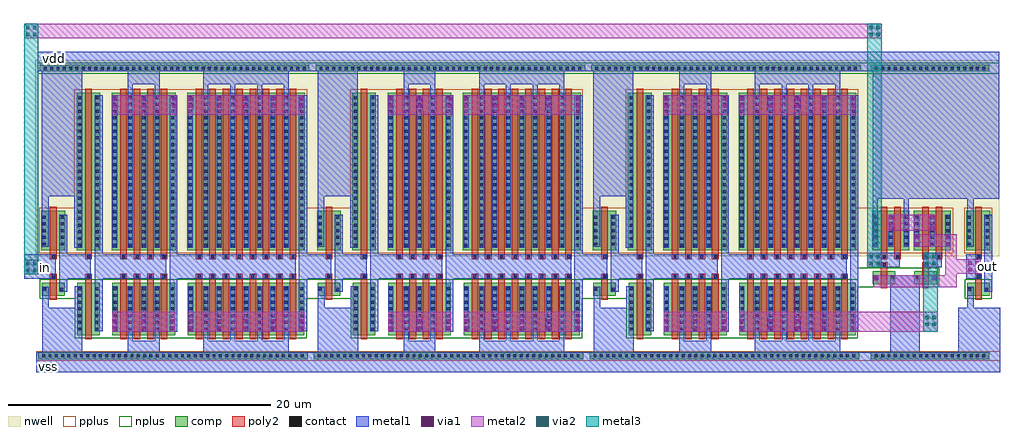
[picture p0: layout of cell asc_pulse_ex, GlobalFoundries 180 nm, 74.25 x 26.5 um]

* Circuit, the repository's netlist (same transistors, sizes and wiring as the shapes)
** sch_path: /foss/designs/libs/core_analog/asc_pulse_ex/asc_pulse_ex.sch
.subckt asc_pulse_ex in vss out vdd
*.PININFO in:B vss:B vdd:B out:B
x1 in vss net1 vdd asc_drive_buffer
x2 net1 vss net2 vdd asc_drive_buffer
x3 net2 vss net3 vdd asc_drive_buffer
x5 vdd vss out in net3 asc_OR
.ends

* expanding   symbol:  libs/core_analog/asc_drive_buffer/asc_drive_buffer.sym # of pins=4
** sym_path: /foss/designs/libs/core_analog/asc_drive_buffer/asc_drive_buffer.sym
** sch_path: /foss/designs/libs/core_analog/asc_drive_buffer/asc_drive_buffer.sch
.subckt asc_drive_buffer in vss out vdd
*.PININFO in:B out:B vss:B vdd:B
M1 net1 in vdd vdd pfet_03v3 L=0.5u W=3.0u nf=1 m=1
M2 net1 in vss vss nfet_03v3 L=0.5u W=1.0u nf=1 m=1
M3 net2 net1 vdd vdd pfet_03v3 L=0.5u W=12.0u nf=1 m=1
M4 net2 net1 vss vss nfet_03v3 L=0.5u W=4.0u nf=1 m=1
M5 net3 net2 vdd vdd pfet_03v3 L=0.5u W=48.0u nf=4 m=1
M6 net3 net2 vss vss nfet_03v3 L=0.5u W=16.0u nf=4 m=1
M7 out net3 vdd vdd pfet_03v3 L=0.5u W=96.0u nf=8 m=1
M8 out net3 vss vss nfet_03v3 L=0.5u W=32.0u nf=8 m=1
.ends


* expanding   symbol:  libs/core_analog/asc_OR/asc_OR.sym # of pins=5
** sym_path: /foss/designs/libs/core_analog/asc_OR/asc_OR.sym
** sch_path: /foss/designs/libs/core_analog/asc_OR/asc_OR.sch
.subckt asc_OR VDD VSS OUT A B
*.PININFO VDD:B A:B B:B VSS:B OUT:B
x1 VDD VSS net1 A B asc_NOR
x2 net1 VDD OUT VSS inv1u05u
.ends


* expanding   symbol:  libs/core_analog/asc_NOR/asc_NOR.sym # of pins=5
** sym_path: /foss/designs/libs/core_analog/asc_NOR/asc_NOR.sym
** sch_path: /foss/designs/libs/core_analog/asc_NOR/asc_NOR.sch
.subckt asc_NOR VDD VSS OUT A B
*.PININFO VDD:B VSS:B B:B A:B OUT:B
M1 OUT A VSS VSS nfet_03v3 L=0.5u W=1u nf=1 m=1
M2 OUT B VSS VSS nfet_03v3 L=0.5u W=1u nf=1 m=1
M3 OUT B net1 VDD pfet_03v3 L=0.5u W=6u nf=2 m=1
M4 net1 A VDD VDD pfet_03v3 L=0.5u W=6u nf=2 m=1
.ends


* expanding   symbol:  libs/core_analog/inv1u05u/inv1u05u.sym # of pins=4
** sym_path: /foss/designs/libs/core_analog/inv1u05u/inv1u05u.sym
** sch_path: /foss/designs/libs/core_analog/inv1u05u/inv1u05u.sch
.subckt inv1u05u in vdd out vss
*.PININFO in:B out:B vss:B vdd:B
M1 out in vdd vdd pfet_03v3 L=0.5u W=3.0u nf=1 m=1
M2 out in vss vss nfet_03v3 L=0.5u W=1.0u nf=1 m=1
.ends

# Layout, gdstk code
from math import pi, radians
import gdstk
lib = gdstk.Library(unit=1e-6, precision=5e-09)
def R(c, l, rs):  # rectangles x0, y0, x1, y1
    for r in rs: c.add(gdstk.rectangle(r[:2], r[2:], *l))
def A(c, l, x, y, w, h, nx, ny, dx, dy):  # array of equal rectangles
    R(c, l, [(x+i*dx, y+j*dy, x+i*dx+w, y+j*dy+h) for i in range(nx) for j in range(ny)])
nwell = (21, 0)
comp = (22, 0)
poly2 = (30, 0)
pplus = (31, 0)
nplus = (32, 0)
contact = (33, 0)
metal1 = (34, 0)
via1 = (35, 0)
metal2 = (36, 0)
via2 = (38, 0)
metal3 = (42, 0)

via_dev = lib.new_cell('via_dev')
R(via_dev, comp, [(0,0,20.5,0.5)])
A(via_dev, contact, 0.3, 0.14, 0.22, 0.22, 42, 1, 0.48, 0)
R(via_dev, metal1, [(0,0,20.5,0.5)])

nfet = lib.new_cell('nfet')
R(nfet, comp, [(-0.42,0,0,4), (0,0,8.02,4), (8.02,0,8.44,4)])
A(nfet, poly2, 0.19, -0.3, 0.5, 4.6, 8, 1, 1.02, 0)
A(nfet, poly2, 0.19, 4.3, 0.5, 0.36, 8, 1, 1.02, 0)
R(nfet, nplus, [(-0.59,-0.24,8.61,4.24)])
A(nfet, contact, -0.32, 0.36, 0.22, 0.22, 1, 7, 0, 0.51)
A(nfet, contact, 0.84, 0.36, 0.22, 0.22, 7, 7, 1.02, 0.51)
A(nfet, contact, 8.12, 0.36, 0.22, 0.22, 1, 7, 0, 0.51)
A(nfet, contact, 0.33, 4.37, 0.22, 0.22, 8, 1, 1.02, 0)
A(nfet, metal1, 0.76, 0.28, 0.38, 3.44, 7, 1, 1.02, 0)
A(nfet, metal1, 0.25, 4.29, 0.38, 0.38, 8, 1, 1.02, 0)
R(nfet, metal1, [(-0.4,0.28,-0.02,3.72), (8.04,0.28,8.42,3.72)])

pfet = lib.new_cell('pfet')
R(pfet, nwell, [(-0.9,-0.44,8.92,12.44)])
R(pfet, comp, [(-0.46,0,0,12), (0,0,8.02,12), (8.02,0,8.48,12)])
A(pfet, poly2, 0.19, -0.68, 0.5, 0.38, 8, 1, 1.02, 0)
A(pfet, poly2, 0.19, -0.3, 0.5, 12.6, 8, 1, 1.02, 0)
R(pfet, pplus, [(-0.63,-0.24,8.65,12.24)])
A(pfet, contact, 0.33, -0.6, 0.22, 0.22, 8, 1, 1.02, 0)
A(pfet, contact, -0.34, 0.28, 0.22, 0.22, 1, 23, 0, 0.51)
A(pfet, contact, 0.84, 0.28, 0.22, 0.22, 7, 23, 1.02, 0.51)
A(pfet, contact, 8.14, 0.28, 0.22, 0.22, 1, 23, 0, 0.51)
A(pfet, metal1, 0.25, -0.68, 0.38, 0.38, 8, 1, 1.02, 0)
A(pfet, metal1, 0.76, 0.2, 0.38, 11.6, 7, 1, 1.02, 0)
R(pfet, metal1, [(-0.42,0.2,-0.04,11.8), (8.06,0.2,8.44,11.8)])

pfet_1 = lib.new_cell('pfet$1')
R(pfet_1, nwell, [(-0.9,-0.44,4.84,12.44)])
R(pfet_1, comp, [(-0.46,0,0,12), (0,0,3.94,12), (3.94,0,4.4,12)])
A(pfet_1, poly2, 0.19, -0.68, 0.5, 0.38, 4, 1, 1.02, 0)
A(pfet_1, poly2, 0.19, -0.3, 0.5, 12.6, 4, 1, 1.02, 0)
R(pfet_1, pplus, [(-0.63,-0.24,4.57,12.24)])
A(pfet_1, contact, 0.33, -0.6, 0.22, 0.22, 4, 1, 1.02, 0)
A(pfet_1, contact, -0.34, 0.28, 0.22, 0.22, 1, 23, 0, 0.51)
A(pfet_1, contact, 0.84, 0.28, 0.22, 0.22, 3, 23, 1.02, 0.51)
A(pfet_1, contact, 4.06, 0.28, 0.22, 0.22, 1, 23, 0, 0.51)
A(pfet_1, metal1, 0.25, -0.68, 0.38, 0.38, 4, 1, 1.02, 0)
A(pfet_1, metal1, 0.76, 0.2, 0.38, 11.6, 3, 1, 1.02, 0)
R(pfet_1, metal1, [(-0.42,0.2,-0.04,11.8), (3.98,0.2,4.36,11.8)])

pfet_2 = lib.new_cell('pfet$2')
R(pfet_2, nwell, [(-0.9,-0.44,1.78,12.44)])
R(pfet_2, comp, [(-0.46,0,0,12), (0,0,0.88,12), (0.88,0,1.34,12)])
R(pfet_2, poly2, [(0.19,-0.68,0.69,-0.3), (0.19,-0.3,0.69,12.3)])
R(pfet_2, pplus, [(-0.63,-0.24,1.51,12.24)])
A(pfet_2, contact, -0.34, 0.28, 0.22, 0.22, 1, 23, 0, 0.51)
A(pfet_2, contact, 1, 0.28, 0.22, 0.22, 1, 23, 0, 0.51)
R(pfet_2, contact, [(0.33,-0.6,0.55,-0.38)])
R(pfet_2, metal1, [(0.25,-0.68,0.63,-0.3), (-0.42,0.2,-0.04,11.8), (0.92,0.2,1.3,11.8)])

via_dev_13 = lib.new_cell('via_dev$13')
R(via_dev_13, comp, [(0,0,9,0.5)])
A(via_dev_13, contact, 0.31, 0.14, 0.22, 0.22, 18, 1, 0.48, 0)
R(via_dev_13, metal1, [(0,0,9,0.5)])

via_dev_1 = lib.new_cell('via_dev$1')
R(via_dev_1, metal1, [(0,0,1.1,0.4)])
R(via_dev_1, via1, [(0.155,0.07,0.415,0.33), (0.685,0.07,0.945,0.33)])
R(via_dev_1, metal2, [(0,0,1.1,0.4)])

via_dev_8 = lib.new_cell('via_dev$8')
R(via_dev_8, metal2, [(0,0,1.1,1.1)])
R(via_dev_8, via2, [(0.155,0.155,0.415,0.415), (0.685,0.155,0.945,0.415), (0.155,0.685,0.415,0.945), (0.685,0.685,0.945,0.945)])
R(via_dev_8, metal3, [(0,0,1.1,1.1)])

via_dev_2 = lib.new_cell('via_dev$2')

nfet_1 = lib.new_cell('nfet$1')
R(nfet_1, comp, [(-0.42,0,0,4), (0,0,0.88,4), (0.88,0,1.3,4)])
R(nfet_1, poly2, [(0.19,-0.3,0.69,4.3), (0.19,4.3,0.69,4.66)])
R(nfet_1, nplus, [(-0.59,-0.24,1.47,4.24)])
A(nfet_1, contact, -0.32, 0.36, 0.22, 0.22, 1, 7, 0, 0.51)
A(nfet_1, contact, 0.98, 0.36, 0.22, 0.22, 1, 7, 0, 0.51)
R(nfet_1, contact, [(0.33,4.37,0.55,4.59)])
R(nfet_1, metal1, [(-0.4,0.28,-0.02,3.72), (0.9,0.28,1.28,3.72), (0.25,4.29,0.63,4.67)])

nfet_2 = lib.new_cell('nfet$2')
R(nfet_2, comp, [(-0.42,0,0,4), (0,0,3.94,4), (3.94,0,4.36,4)])
A(nfet_2, poly2, 0.19, -0.3, 0.5, 4.6, 4, 1, 1.02, 0)
A(nfet_2, poly2, 0.19, 4.3, 0.5, 0.36, 4, 1, 1.02, 0)
R(nfet_2, nplus, [(-0.59,-0.24,4.53,4.24)])
A(nfet_2, contact, -0.32, 0.36, 0.22, 0.22, 1, 7, 0, 0.51)
A(nfet_2, contact, 0.84, 0.36, 0.22, 0.22, 3, 7, 1.02, 0.51)
A(nfet_2, contact, 4.04, 0.36, 0.22, 0.22, 1, 7, 0, 0.51)
A(nfet_2, contact, 0.33, 4.37, 0.22, 0.22, 4, 1, 1.02, 0)
A(nfet_2, metal1, 0.76, 0.28, 0.38, 3.44, 3, 1, 1.02, 0)
A(nfet_2, metal1, 0.25, 4.29, 0.38, 0.38, 4, 1, 1.02, 0)
R(nfet_2, metal1, [(-0.4,0.28,-0.02,3.72), (3.96,0.28,4.34,3.72)])

nfet_3 = lib.new_cell('nfet$3')
R(nfet_3, comp, [(-0.42,0,0,1), (0,0,0.88,1), (0.88,0,1.3,1)])
R(nfet_3, poly2, [(0.19,-0.3,0.69,1.3), (0.19,1.3,0.69,1.66)])
R(nfet_3, nplus, [(-0.59,-0.24,1.47,1.24)])
R(nfet_3, contact, [(-0.32,0.39,-0.1,0.61), (0.98,0.39,1.2,0.61), (0.33,1.37,0.55,1.59)])
R(nfet_3, metal1, [(-0.4,0.31,-0.02,0.69), (0.9,0.31,1.28,0.69), (0.25,1.29,0.63,1.67)])

via_dev_9 = lib.new_cell('via_dev$9')
R(via_dev_9, metal1, [(0,0,1.1,1.1)])
R(via_dev_9, via1, [(0.155,0.155,0.415,0.415), (0.685,0.155,0.945,0.415), (0.155,0.685,0.415,0.945), (0.685,0.685,0.945,0.945)])
R(via_dev_9, metal2, [(0,0,1.1,1.1)])
R(via_dev_9, via2, [(0.155,0.155,0.415,0.415), (0.685,0.155,0.945,0.415), (0.155,0.685,0.415,0.945), (0.685,0.685,0.945,0.945)])
R(via_dev_9, metal3, [(0,0,1.1,1.1)])

pfet_3 = lib.new_cell('pfet$3')
R(pfet_3, nwell, [(-0.9,-0.44,1.78,3.44)])
R(pfet_3, comp, [(-0.46,0,0,3), (0,0,0.88,3), (0.88,0,1.34,3)])
R(pfet_3, poly2, [(0.19,-0.68,0.69,-0.3), (0.19,-0.3,0.69,3.3)])
R(pfet_3, pplus, [(-0.63,-0.24,1.51,3.24)])
A(pfet_3, contact, -0.34, 0.37, 0.22, 0.22, 1, 5, 0, 0.51)
A(pfet_3, contact, 1, 0.37, 0.22, 0.22, 1, 5, 0, 0.51)
R(pfet_3, contact, [(0.33,-0.6,0.55,-0.38)])
R(pfet_3, metal1, [(0.25,-0.68,0.63,-0.3), (-0.42,0.29,-0.04,2.71), (0.92,0.29,1.3,2.71)])

via_dev_4 = lib.new_cell('via_dev$4')
R(via_dev_4, metal1, [(0,0,0.4,0.4)])
R(via_dev_4, via1, [(0.07,0.07,0.33,0.33)])
R(via_dev_4, metal2, [(0,0,0.4,0.4)])

nfet_4 = lib.new_cell('nfet$4')
R(nfet_4, comp, [(-0.42,0,0,1), (0,0,0.88,1), (0.88,0,1.3,1)])
R(nfet_4, poly2, [(0.19,-0.3,0.69,1.3), (0.19,1.3,0.69,1.66)])
R(nfet_4, nplus, [(-0.59,-0.24,1.47,1.24)])
R(nfet_4, contact, [(-0.32,0.39,-0.1,0.61), (0.98,0.39,1.2,0.61), (0.33,1.37,0.55,1.59)])
R(nfet_4, metal1, [(-0.4,0.31,-0.02,0.69), (0.9,0.31,1.28,0.69), (0.25,1.29,0.63,1.67)])

via_dev_6 = lib.new_cell('via_dev$6')

via_dev_3 = lib.new_cell('via_dev$3')
R(via_dev_3, metal1, [(0,0,0.4,0.4)])
R(via_dev_3, via1, [(0.07,0.07,0.33,0.33)])
R(via_dev_3, metal2, [(0,0,0.4,0.4)])

pfet_4 = lib.new_cell('pfet$4')
R(pfet_4, nwell, [(-0.9,-0.44,2.8,3.44)])
R(pfet_4, comp, [(-0.46,0,0,3), (0,0,1.9,3), (1.9,0,2.36,3)])
R(pfet_4, poly2, [(0.19,-0.68,0.69,-0.3), (1.21,-0.68,1.71,-0.3), (0.19,-0.3,0.69,3.3), (1.21,-0.3,1.71,3.3)])
R(pfet_4, pplus, [(-0.63,-0.24,2.53,3.24)])
A(pfet_4, contact, -0.34, 0.37, 0.22, 0.22, 3, 5, 1.18, 0.51)
R(pfet_4, contact, [(0.33,-0.6,0.55,-0.38), (1.35,-0.6,1.57,-0.38)])
A(pfet_4, metal1, -0.42, 0.29, 0.38, 2.42, 3, 1, 1.18, 0)
R(pfet_4, metal1, [(0.25,-0.68,0.63,-0.3), (1.27,-0.68,1.65,-0.3)])

pfet_5 = lib.new_cell('pfet$5')
R(pfet_5, nwell, [(-0.9,-0.44,1.78,3.44)])
R(pfet_5, comp, [(-0.46,0,0,3), (0,0,0.88,3), (0.88,0,1.34,3)])
R(pfet_5, poly2, [(0.19,-0.68,0.69,-0.3), (0.19,-0.3,0.69,3.3)])
R(pfet_5, pplus, [(-0.63,-0.24,1.51,3.24)])
A(pfet_5, contact, -0.34, 0.37, 0.22, 0.22, 1, 5, 0, 0.51)
A(pfet_5, contact, 1, 0.37, 0.22, 0.22, 1, 5, 0, 0.51)
R(pfet_5, contact, [(0.33,-0.6,0.55,-0.38)])
R(pfet_5, metal1, [(0.25,-0.68,0.63,-0.3), (-0.42,0.29,-0.04,2.71), (0.92,0.29,1.3,2.71)])

via_dev_10 = lib.new_cell('via_dev$10')

nfet_5 = lib.new_cell('nfet$5')
R(nfet_5, comp, [(-0.42,0,0,1), (0,0,0.88,1), (0.88,0,1.3,1)])
R(nfet_5, poly2, [(0.19,-0.3,0.69,1.3), (0.19,1.3,0.69,1.66)])
R(nfet_5, nplus, [(-0.59,-0.24,1.47,1.24)])
R(nfet_5, contact, [(-0.32,0.39,-0.1,0.61), (0.98,0.39,1.2,0.61), (0.33,1.37,0.55,1.59)])
R(nfet_5, metal1, [(-0.4,0.31,-0.02,0.69), (0.9,0.31,1.28,0.69), (0.25,1.29,0.63,1.67)])

via_dev_11 = lib.new_cell('via_dev$11')
R(via_dev_11, metal1, [(0,0,1.1,1.1)])
R(via_dev_11, via1, [(0.155,0.155,0.415,0.415), (0.685,0.155,0.945,0.415), (0.155,0.685,0.415,0.945), (0.685,0.685,0.945,0.945)])
R(via_dev_11, metal2, [(0,0,1.1,1.1)])

asc_pulse_ex = lib.new_cell('asc_pulse_ex')
A(asc_pulse_ex, nwell, -18.24, 8.27, 2.695, 8.8, 3, 1, 20.97, 0)
A(asc_pulse_ex, nwell, -18.24, 17.07, 2.695, 0.2, 3, 1, 20.97, 0)
A(asc_pulse_ex, nwell, -18.24, 17.27, 21.305, 2, 3, 1, 20.97, 0)
R(asc_pulse_ex, nwell, [(2.695,4.39,3.065,17.27), (23.665,4.39,24.035,17.27), (44.635,4.39,52.13,18.085), (47.655,4.39,49.075,8.27), (54.825,4.39,55.095,8.27), (52.13,8.27,55.095,17.07), (52.13,17.07,55.095,17.27), (51.835,17.27,55.095,19.27), (44.975,18.085,51.835,19.27)])
A(asc_pulse_ex, pplus, -18.175, -3.58, 20.97, 0.75, 3, 1, 20.97, 0)
A(asc_pulse_ex, pplus, -15.815, 4.59, 0.54, 3.48, 3, 1, 20.97, 0)
R(asc_pulse_ex, pplus, [(44.735,-3.58,45.165,-2.83), (45.165,-3.58,55.135,-2.83), (-13.135,4.59,-12.595,17.07), (-7.395,4.59,-6.855,17.07), (2.425,4.59,3.015,8.07), (7.835,4.59,8.375,17.07), (13.575,4.59,14.115,17.07), (23.395,4.59,23.985,8.07), (28.805,4.59,29.345,17.07), (34.545,4.59,35.085,17.07), (44.365,4.59,45.245,8.07)])
A(asc_pulse_ex, nplus, -15.855, 1.135, 0.62, 1.48, 3, 1, 20.97, 0)
A(asc_pulse_ex, nplus, -18.08, 18.245, 20.875, 0.865, 3, 1, 20.97, 0)
R(asc_pulse_ex, nplus, [(-13.175,-1.865,-12.555,2.615), (-7.435,-1.865,-6.815,2.615), (7.795,-1.865,8.415,2.615), (13.535,-1.865,14.155,2.615), (28.765,-1.865,29.385,2.615), (34.505,-1.865,35.125,2.615), (2.385,1.135,3.055,2.615), (23.355,1.135,24.025,2.615), (44.325,2.01,45.285,3.49), (47.345,2.01,48.445,3.49), (2.795,18.245,2.89,19.11), (23.765,18.245,23.86,19.11), (44.735,18.245,45.13,19.11), (45.13,18.245,55.095,19.11)])
A(asc_pulse_ex, metal1, -18.175, -4.44, 20.97, 1.5, 3, 1, 20.97, 0)
A(asc_pulse_ex, metal1, -18.175, -3.44, 0.15, 0.5, 3, 1, 20.97, 0)
A(asc_pulse_ex, metal1, -17.725, -2.94, 0.505, 5.005, 3, 1, 20.97, 0)
A(asc_pulse_ex, metal1, -17.22, -2.94, 1.985, 3.395, 3, 1, 20.97, 0)
A(asc_pulse_ex, metal1, -15.235, -2.94, 0.57, 5.035, 3, 1, 20.97, 0)
A(asc_pulse_ex, metal1, -10.825, -2.94, 1.66, 0.895, 3, 1, 20.97, 0)
A(asc_pulse_ex, metal1, -5.465, -2.94, 0.38, 1.595, 4, 1, 2.04, 0)
A(asc_pulse_ex, metal1, -5.085, -2.94, 5.74, 0.89, 3, 1, 20.97, 0)
A(asc_pulse_ex, metal1, 15.505, -2.94, 0.38, 1.595, 4, 1, 2.04, 0)
A(asc_pulse_ex, metal1, 36.475, -2.94, 0.38, 1.595, 4, 1, 2.04, 0)
A(asc_pulse_ex, metal1, -8.005, -1.35, 0.57, 17.98, 3, 1, 20.97, 0)
A(asc_pulse_ex, metal1, -13.745, -1.345, 0.61, 17.975, 3, 1, 20.97, 0)
A(asc_pulse_ex, metal1, 1.795, -1.345, 0.63, 17.975, 3, 1, 20.97, 0)
A(asc_pulse_ex, metal1, -16.425, 1.685, 0.61, 5.855, 3, 1, 20.97, 0)
A(asc_pulse_ex, metal1, -15.815, 2.665, 1.8, 1.865, 3, 1, 20.97, 0)
A(asc_pulse_ex, metal1, -13.135, 2.665, 4.86, 1.865, 3, 1, 20.97, 0)
A(asc_pulse_ex, metal1, -7.435, 2.665, 8.98, 1.865, 3, 1, 20.97, 0)
A(asc_pulse_ex, metal1, -14.395, 3.045, 0.38, 1.105, 3, 1, 20.97, 0)
A(asc_pulse_ex, metal1, -15.275, 5.03, 0.59, 13.415, 3, 1, 20.97, 0)
A(asc_pulse_ex, metal1, -16.405, 5.05, 0.38, 0.07, 3, 1, 20.97, 0)
A(asc_pulse_ex, metal1, -17.745, 5.12, 0.515, 13.325, 3, 1, 20.97, 0)
A(asc_pulse_ex, metal1, -17.23, 8.96, 1.955, 9.485, 3, 1, 20.97, 0)
A(asc_pulse_ex, metal1, -5.465, 16.63, 0.38, 1.815, 4, 1, 2.04, 0)
A(asc_pulse_ex, metal1, 15.505, 16.63, 0.38, 1.815, 4, 1, 2.04, 0)
A(asc_pulse_ex, metal1, 36.475, 16.63, 0.38, 1.815, 4, 1, 2.04, 0)
A(asc_pulse_ex, metal1, -5.085, 17.455, 5.74, 0.99, 3, 1, 20.97, 0)
A(asc_pulse_ex, metal1, -10.825, 17.46, 1.66, 0.985, 3, 1, 20.97, 0)
A(asc_pulse_ex, metal1, -18.08, 18.445, 20.875, 1.5, 3, 1, 20.97, 0)
A(asc_pulse_ex, metal1, -18.045, 18.445, 0.15, 0.5, 3, 1, 20.97, 0)
R(asc_pulse_ex, metal1, [(44.735,-4.44,45.165,-2.94), (45.165,-4.44,55.135,-2.94), (45.165,-3.44,45.315,-2.94), (51.315,-3.44,51.56,-2.94), (-11.205,-2.94,-10.825,-1.345), (-9.165,-2.94,-8.785,-1.345), (9.765,-2.94,10.145,-1.345), (11.805,-2.94,12.185,-1.345), (30.735,-2.94,31.115,-1.345), (32.775,-2.94,33.155,-1.345), (46.775,-2.94,49.015,2.94), (51.96,-2.94,53.15,0.455), (52.645,-2.94,53.15,2.065), (53.15,-2.94,55.135,0.455), (53.945,1.685,54.555,7.54), (-19.11,2.665,-16.695,4.53), (1.795,2.665,4.275,4.53), (22.765,2.665,25.245,4.53), (52.575,2.665,53.675,4.53), (3.215,3.045,4.275,4.15), (24.185,3.045,25.245,4.15), (46.125,3.54,46.505,4.53), (46.505,3.54,47.525,4.15), (49.285,3.54,49.665,4.53), (49.665,3.54,50.685,4.15), (46.125,4.15,47.525,4.64), (49.285,4.15,50.685,4.53), (50.385,4.53,50.685,4.64), (53.965,5.05,54.345,5.12), (45.455,5.12,45.835,18.445), (47.81,5.12,48.19,18.445), (52.625,5.12,53.14,18.445), (48.995,5.52,49.015,5.64), (51.355,5.52,51.375,5.64), (45.835,8.75,52.625,18.445), (53.14,8.75,55.095,18.445), (-11.205,16.63,-10.825,18.445), (-9.165,16.63,-8.785,18.445), (9.765,16.63,10.145,18.445), (11.805,16.63,12.185,18.445), (30.735,16.63,31.115,18.445), (32.775,16.63,33.155,18.445), (2.795,18.445,2.89,19.945), (23.765,18.445,23.86,19.945), (44.735,18.445,45.165,19.945), (45.165,18.445,45.315,18.945), (45.165,18.445,55.095,19.945), (51.315,18.445,51.505,18.945)])
A(asc_pulse_ex, metal2, -12.385, -1.35, 4.78, 1.505, 3, 1, 20.97, 0)
A(asc_pulse_ex, metal2, -12.385, 15.13, 4.87, 1.5, 3, 1, 20.97, 0)
A(asc_pulse_ex, metal2, -6.645, 15.13, 8.86, 1.5, 3, 1, 20.97, 0)
R(asc_pulse_ex, metal2, [(-6.625,-1.35,2.215,0.155), (14.345,-1.35,23.185,0.155), (35.315,-1.35,50.385,0.155), (45.475,2.02,50.335,2.94), (49.935,2.02,51.375,2.94), (50.975,2.02,51.85,6.04), (51.85,3.065,52.575,4.165), (48.615,5.12,51.375,6.04), (50.975,5.12,51.375,5.96), (46.635,6.33,47.035,7.54), (46.635,6.33,50.195,7.54), (49.795,6.33,50.195,7.54), (-19.11,20.96,46.125,22.06)])
R(asc_pulse_ex, metal3, [(49.285,-1.35,50.385,4.64), (-19.11,3.01,-18.01,22.06), (45.025,3.54,46.125,22.06)])
asc_pulse_ex.add(gdstk.Reference(via_dev, (3.075,18.445)))
asc_pulse_ex.add(gdstk.Reference(via_dev, (2.945,-3.44)))
asc_pulse_ex.add(gdstk.Reference(nfet, (14.745,-1.625)))
asc_pulse_ex.add(gdstk.Reference(pfet, (14.745,4.83)))
asc_pulse_ex.add(gdstk.Reference(pfet_1, (9.005,4.83)))
asc_pulse_ex.add(gdstk.Reference(pfet_2, (6.325,4.83)))
asc_pulse_ex.add(gdstk.Reference(pfet, (-6.225,4.83)))
asc_pulse_ex.add(gdstk.Reference(pfet_1, (-11.965,4.83)))
asc_pulse_ex.add(gdstk.Reference(pfet_2, (-14.645,4.83)))
asc_pulse_ex.add(gdstk.Reference(pfet, (35.715,4.83)))
asc_pulse_ex.add(gdstk.Reference(pfet_1, (29.975,4.83)))
asc_pulse_ex.add(gdstk.Reference(pfet_2, (27.295,4.83)))
asc_pulse_ex.add(gdstk.Reference(via_dev_13, (45.315,18.445)))
asc_pulse_ex.add(gdstk.Reference(via_dev, (24.045,18.445)))
asc_pulse_ex.add(gdstk.Reference(via_dev_1, (23.185,15.53), rotation=pi/2))
asc_pulse_ex.add(gdstk.Reference(via_dev_1, (29.955,15.53), rotation=pi/2))
asc_pulse_ex.add(gdstk.Reference(via_dev_1, (32.145,15.53), rotation=pi/2))
asc_pulse_ex.add(gdstk.Reference(via_dev_1, (34.425,15.53), rotation=pi/2))
asc_pulse_ex.add(gdstk.Reference(via_dev_1, (35.695,15.53), rotation=pi/2))
asc_pulse_ex.add(gdstk.Reference(via_dev_1, (37.885,15.53), rotation=pi/2))
asc_pulse_ex.add(gdstk.Reference(via_dev_1, (39.925,15.53), rotation=pi/2))
asc_pulse_ex.add(gdstk.Reference(via_dev_1, (41.965,15.53), rotation=pi/2))
asc_pulse_ex.add(gdstk.Reference(via_dev_1, (44.155,15.53), rotation=pi/2))
asc_pulse_ex.add(gdstk.Reference(via_dev_1, (18.955,15.53), rotation=pi/2))
asc_pulse_ex.add(gdstk.Reference(via_dev_1, (20.995,15.53), rotation=pi/2))
asc_pulse_ex.add(gdstk.Reference(via_dev_8, (45.025,20.96)))
asc_pulse_ex.add(gdstk.Reference(via_dev_1, (-2.015,15.53), rotation=pi/2))
asc_pulse_ex.add(gdstk.Reference(via_dev_1, (0.025,15.53), rotation=pi/2))
asc_pulse_ex.add(gdstk.Reference(via_dev_1, (2.215,15.53), rotation=pi/2))
asc_pulse_ex.add(gdstk.Reference(via_dev_1, (-7.515,15.53), rotation=pi/2))
asc_pulse_ex.add(gdstk.Reference(via_dev_1, (-6.245,15.53), rotation=pi/2))
asc_pulse_ex.add(gdstk.Reference(via_dev_1, (8.985,15.53), rotation=pi/2))
asc_pulse_ex.add(gdstk.Reference(via_dev, (-17.895,18.445)))
asc_pulse_ex.add(gdstk.Reference(via_dev_1, (11.175,15.53), rotation=pi/2))
asc_pulse_ex.add(gdstk.Reference(via_dev_1, (13.455,15.53), rotation=pi/2))
asc_pulse_ex.add(gdstk.Reference(via_dev_1, (14.725,15.53), rotation=pi/2))
asc_pulse_ex.add(gdstk.Reference(via_dev_1, (16.915,15.53), rotation=pi/2))
asc_pulse_ex.add(gdstk.Reference(via_dev_1, (-11.985,15.53), rotation=pi/2))
asc_pulse_ex.add(gdstk.Reference(via_dev_1, (-9.795,15.53), rotation=pi/2))
asc_pulse_ex.add(gdstk.Reference(via_dev_1, (-4.055,15.53), rotation=pi/2))
asc_pulse_ex.add(gdstk.Reference(via_dev_8, (-19.11,20.96)))
asc_pulse_ex.add(gdstk.Reference(via_dev_1, (2.195,-1.345), rotation=pi/2))
asc_pulse_ex.add(gdstk.Reference(via_dev_1, (-11.985,-1.345), rotation=pi/2))
asc_pulse_ex.add(gdstk.Reference(via_dev, (-18.025,-3.44)))
asc_pulse_ex.add(gdstk.Reference(nfet, (-6.225,-1.625)))
asc_pulse_ex.add(gdstk.Reference(via_dev_1, (-9.795,-1.345), rotation=pi/2))
asc_pulse_ex.add(gdstk.Reference(via_dev_1, (8.985,-1.345), rotation=pi/2))
asc_pulse_ex.add(gdstk.Reference(via_dev_2, (-13.325,-2.645), rotation=pi/2))
asc_pulse_ex.add(gdstk.Reference(nfet_1, (6.325,-1.625)))
asc_pulse_ex.add(gdstk.Reference(nfet_1, (-14.645,-1.625)))
asc_pulse_ex.add(gdstk.Reference(via_dev_2, (-16.005,-2.645), rotation=pi/2))
asc_pulse_ex.add(gdstk.Reference(nfet_2, (9.005,-1.625)))
asc_pulse_ex.add(gdstk.Reference(via_dev_2, (-20.305,-2.645), rotation=pi/2))
asc_pulse_ex.add(gdstk.Reference(nfet_3, (-17.325,1.375)))
asc_pulse_ex.add(gdstk.Reference(via_dev_1, (-7.605,-1.345), rotation=pi/2))
asc_pulse_ex.add(gdstk.Reference(via_dev_2, (0.665,-2.645), rotation=pi/2))
asc_pulse_ex.add(gdstk.Reference(nfet_3, (3.645,1.375)))
asc_pulse_ex.add(gdstk.Reference(via_dev_1, (13.365,-1.345), rotation=pi/2))
asc_pulse_ex.add(gdstk.Reference(via_dev_1, (11.175,-1.345), rotation=pi/2))
asc_pulse_ex.add(gdstk.Reference(via_dev_1, (14.745,-1.345), rotation=pi/2))
asc_pulse_ex.add(gdstk.Reference(via_dev_1, (16.915,-1.345), rotation=pi/2))
asc_pulse_ex.add(gdstk.Reference(nfet_2, (-11.965,-1.625)))
asc_pulse_ex.add(gdstk.Reference(via_dev_1, (-6.225,-1.345), rotation=pi/2))
asc_pulse_ex.add(gdstk.Reference(via_dev_1, (-4.055,-1.345), rotation=pi/2))
asc_pulse_ex.add(gdstk.Reference(via_dev_1, (-2.015,-1.345), rotation=pi/2))
asc_pulse_ex.add(gdstk.Reference(via_dev_1, (0.025,-1.345), rotation=pi/2))
asc_pulse_ex.add(gdstk.Reference(via_dev_9, (-19.11,3.01)))
asc_pulse_ex.add(gdstk.Reference(pfet_3, (3.645,4.83)))
asc_pulse_ex.add(gdstk.Reference(pfet_3, (-17.325,4.83)))
asc_pulse_ex.add(gdstk.Reference(via_dev_9, (49.285,3.54)))
asc_pulse_ex.add(gdstk.Reference(via_dev_4, (48.615,5.12)))
asc_pulse_ex.add(gdstk.Reference(nfet_4, (45.875,2.25)))
asc_pulse_ex.add(gdstk.Reference(via_dev_6, (44.515,0.195), rotation=pi/2))
asc_pulse_ex.add(gdstk.Reference(via_dev_3, (49.795,7.14)))
asc_pulse_ex.add(gdstk.Reference(via_dev_3, (49.795,6.33)))
asc_pulse_ex.add(gdstk.Reference(via_dev_1, (18.955,-1.345), rotation=pi/2))
asc_pulse_ex.add(gdstk.Reference(via_dev_1, (20.995,-1.345), rotation=pi/2))
asc_pulse_ex.add(gdstk.Reference(pfet_3, (24.615,4.83)))
asc_pulse_ex.add(gdstk.Reference(via_dev_4, (46.635,7.14)))
asc_pulse_ex.add(gdstk.Reference(via_dev_4, (45.475,2.54)))
asc_pulse_ex.add(gdstk.Reference(via_dev_13, (45.315,-3.44)))
asc_pulse_ex.add(gdstk.Reference(pfet_4, (49.035,4.83)))
asc_pulse_ex.add(gdstk.Reference(nfet_4, (49.035,2.25)))
asc_pulse_ex.add(gdstk.Reference(pfet_4, (45.875,4.83)))
asc_pulse_ex.add(gdstk.Reference(nfet_2, (29.975,-1.625)))
asc_pulse_ex.add(gdstk.Reference(via_dev_4, (50.975,5.64)))
asc_pulse_ex.add(gdstk.Reference(via_dev, (23.915,-3.44)))
asc_pulse_ex.add(gdstk.Reference(nfet, (35.715,-1.625)))
asc_pulse_ex.add(gdstk.Reference(via_dev_1, (32.145,-1.345), rotation=pi/2))
asc_pulse_ex.add(gdstk.Reference(via_dev_1, (29.955,-1.345), rotation=pi/2))
asc_pulse_ex.add(gdstk.Reference(via_dev_4, (50.975,5.12)))
asc_pulse_ex.add(gdstk.Reference(nfet_1, (27.295,-1.625)))
asc_pulse_ex.add(gdstk.Reference(via_dev_8, (49.285,-1.08)))
asc_pulse_ex.add(gdstk.Reference(nfet_3, (24.615,1.375)))
asc_pulse_ex.add(gdstk.Reference(via_dev_1, (34.335,-1.345), rotation=pi/2))
asc_pulse_ex.add(gdstk.Reference(pfet_5, (53.045,4.83)))
asc_pulse_ex.add(gdstk.Reference(via_dev_1, (23.165,-1.345), rotation=pi/2))
asc_pulse_ex.add(gdstk.Reference(via_dev_10, (54.365,-2.645), rotation=pi/2))
asc_pulse_ex.add(gdstk.Reference(via_dev_10, (50.065,-2.65), rotation=pi/2))
asc_pulse_ex.add(gdstk.Reference(nfet_5, (53.045,1.375)))
asc_pulse_ex.add(gdstk.Reference(via_dev_11, (52.575,3.065)))
asc_pulse_ex.add(gdstk.Reference(via_dev_9, (45.025,3.54)))
asc_pulse_ex.add(gdstk.Reference(via_dev_4, (46.635,6.33)))
asc_pulse_ex.add(gdstk.Reference(via_dev_4, (48.615,5.64)))
asc_pulse_ex.add(gdstk.Reference(via_dev_1, (35.715,-1.345), rotation=pi/2))
asc_pulse_ex.add(gdstk.Reference(via_dev_1, (37.885,-1.345), rotation=pi/2))
asc_pulse_ex.add(gdstk.Reference(via_dev_1, (39.925,-1.345), rotation=pi/2))
asc_pulse_ex.add(gdstk.Reference(via_dev_1, (41.965,-1.345), rotation=pi/2))
asc_pulse_ex.add(gdstk.Reference(via_dev_1, (44.135,-1.345), rotation=pi/2))
asc_pulse_ex.add(gdstk.Reference(via_dev_4, (49.935,2.54)))
asc_pulse_ex.add(gdstk.Label('vss', (-17.24,-4.035), layer=34, texttype=10))
asc_pulse_ex.add(gdstk.Label('in', (-17.49,3.56), layer=34, texttype=10))
asc_pulse_ex.add(gdstk.Label('vdd', (-16.78,19.445), layer=34, texttype=10))
asc_pulse_ex.add(gdstk.Label('out', (54.22,3.565), layer=34, texttype=10))

lib.write_gds('asc_pulse_ex.gds')
